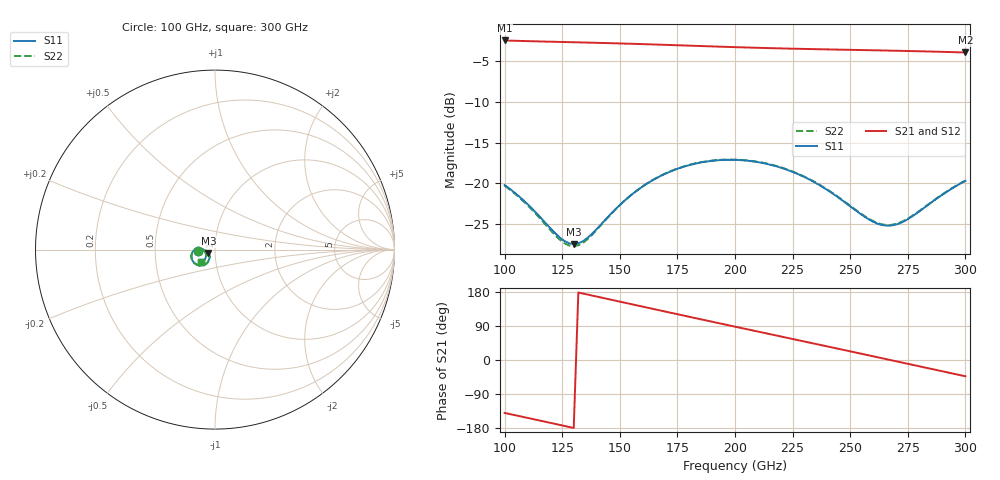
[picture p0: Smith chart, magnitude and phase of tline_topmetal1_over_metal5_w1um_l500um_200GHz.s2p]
#  GHZ S DB R 50
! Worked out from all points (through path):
!   101 points, 100 GHz to 300 GHz, reference 50 ohm
!   highest |S21| = -2.43 dB at 100 GHz (marker M1); lowest = -3.9 dB at 300 GHz (marker M2)
!   group delay of S21, straight-line fit = 3.65 ps
!   lowest |S11| = -27.5 dB at 130 GHz (marker M3), VSWR 1.09, Z = 46.4 - j1.97 ohm
!   |S11| at or under -10 dB: start of sweep to end of sweep
!   |S22| runs from -27.7 to -17.1 dB; largest |S21 - S12| = 7.7e-14
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100  -20.22 -174.1  -2.43 -139.7  -2.43 -139.7  -20.30 -174.5
108  -22.05 -178.3  -2.50 -150.2  -2.50 -150.2  -22.17 -178.8
116  -24.35 -177.3  -2.56 -160.8  -2.56 -160.8  -24.52 -177.6
124  -26.69 -166.1  -2.61 -171.3  -2.61 -171.3  -26.95 -166.0
130  -27.49 -149.9  -2.65 -179.3  -2.65 -179.3  -27.75 -149.0
134  -27.14 -138.5  -2.68 175.4  -2.68 175.4  -27.33 -137.2
142  -25.03 -123.8  -2.74 164.7  -2.74 164.7  -25.10 -122.4
150  -22.69 -120.0  -2.80 154.1  -2.80 154.1  -22.70 -118.8
158  -20.79 -122.1  -2.87 143.4  -2.87 143.4  -20.77 -121.2
168  -19.06 -128.7  -2.96 130.1  -2.96 130.1  -19.04 -127.9
184  -17.51 -142.5  -3.11 109.0  -3.11 109.0  -17.49 -141.9
192  -17.19 -150.0  -3.18 98.5  -3.18 98.5  -17.16 -149.4
200  -17.13 -157.4  -3.25 88.0  -3.25 88.0  -17.10 -156.9
216  -17.77 -171.3  -3.38 67.2  -3.38 67.2  -17.74 -170.9
234  -19.80 177.0  -3.50 43.7  -3.50 43.7  -19.76 177.5
244  -21.59 175.0  -3.55 30.7  -3.55 30.7  -21.54 175.4
252  -23.26 178.1  -3.60 20.2  -3.60 20.2  -23.20 178.5
262  -24.99 -169.0  -3.65 7.1  -3.65 7.1  -24.92 -168.7
268  -25.20 -157.5  -3.69 -0.8  -3.69 -0.8  -25.13 -157.4
274  -24.59 -146.9  -3.72 -8.7  -3.72 -8.7  -24.52 -146.9
284  -22.63 -137.2  -3.79 -21.9  -3.79 -21.9  -22.58 -137.2
300  -19.71 -137.9  -3.91 -42.9  -3.91 -42.9  -19.69 -137.9
